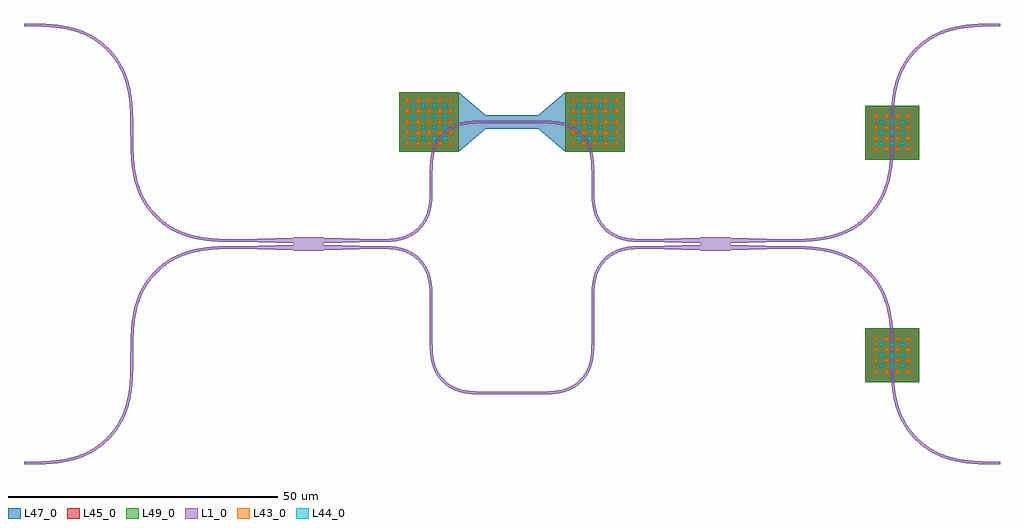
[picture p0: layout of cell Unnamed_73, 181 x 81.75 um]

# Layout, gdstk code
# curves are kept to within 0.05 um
from math import pi, radians
import gdstk
lib = gdstk.Library(unit=1e-6, precision=1e-09)
def R(c, l, rs):  # rectangles x0, y0, x1, y1
    for r in rs: c.add(gdstk.rectangle(r[:2], r[2:], *l))
def A(c, l, x, y, w, h, nx, ny, dx, dy):  # array of equal rectangles
    R(c, l, [(x+i*dx, y+j*dy, x+i*dx+w, y+j*dy+h) for i in range(nx) for j in range(ny)])
def P(c, l, *ps):  # polygons
    for p in ps: c.add(gdstk.Polygon(p, *l))
L1_0 = (1, 0)
L43_0 = (43, 0)
L44_0 = (44, 0)
L45_0 = (45, 0)
L47_0 = (47, 0)
L49_0 = (49, 0)

mmi2x2_wnone_wt1_lt10_l_ = lib.new_cell('mmi2x2_WNone_WT1_LT10_L_4ab7dfce')
P(mmi2x2_wnone_wt1_lt10_l_, L1_0, [(0,-1.25),(0,-1.125),(-10,-0.875),(-10,-0.375),(0,-0.125),(0,0.125),(-10,0.375),(-10,0.875),(0,1.125),(0,1.25),(5.5,1.25),(5.5,1.125),(15.5,0.875),(15.5,0.375),(5.5,0.125),(5.5,-0.125),(15.5,-0.375),(15.5,-0.875),(5.5,-1.125),(5.5,-1.25)])

bend_euler_rnone_a90_p0_ = lib.new_cell('bend_euler_RNone_A90_P0_d7c3a5a9')
P(bend_euler_rnone_a90_p0_, L1_0, [(0,-0.25),(0,0.25),(2.881,0.353),(3.952,0.52),(4.99,0.806),(6.431,1.505),(7.575,2.425),(8.495,3.569),(9.194,5.01),(9.48,6.048),(9.647,7.119),(9.75,10),(10.25,10),(10.158,7.205),(9.797,5.254),(9.457,4.312),(9.066,3.545),(8.5,2.715),(7.928,2.072),(7.285,1.5),(6.455,0.934),(5.688,0.543),(4.746,0.203),(2.795,-0.158)])

straight_l2_n2_csstrip = lib.new_cell('straight_L2_N2_CSstrip')
R(straight_l2_n2_csstrip, L1_0, [(0,-0.25,2,0.25)])

straight_l7_n2_csstrip = lib.new_cell('straight_L7_N2_CSstrip')
R(straight_l7_n2_csstrip, L1_0, [(0,-0.25,7,0.25)])

straight_heater_metal_u_ = lib.new_cell('straight_heater_metal_u_385113d0')
R(straight_heater_metal_u_, L1_0, [(0,-0.25,10,0.25)])
A(straight_heater_metal_u_, L43_0, -14.75, -4.35, 0.7, 0.7, 5, 5, 2, 2)
A(straight_heater_metal_u_, L43_0, 16.05, -4.35, 0.7, 0.7, 5, 5, 2, 2)
A(straight_heater_metal_u_, L44_0, -13.75, -3.35, 0.7, 0.7, 4, 4, 2, 2)
A(straight_heater_metal_u_, L44_0, 17.05, -3.35, 0.7, 0.7, 4, 4, 2, 2)
R(straight_heater_metal_u_, L45_0, [(-15.9,-5.5,-4.9,5.5), (14.9,-5.5,25.9,5.5)])
P(straight_heater_metal_u_, L47_0, [(-15.9,-5.5),(-15.9,5.5),(-4.9,5.5),(0.1,1.25),(9.9,1.25),(14.9,5.5),(25.9,5.5),(25.9,-5.5),(14.9,-5.5),(9.9,-1.25),(0.1,-1.25),(-4.9,-5.5)])
R(straight_heater_metal_u_, L49_0, [(-15.9,-5.5,-4.9,5.5), (14.9,-5.5,25.9,5.5)])

straight_l10_n2_csstrip = lib.new_cell('straight_L10_N2_CSstrip')
R(straight_l10_n2_csstrip, L1_0, [(0,-0.25,10,0.25)])

mzi_dl10_ly2_lx10_bbend_ = lib.new_cell('mzi_DL10_LY2_LX10_Bbend_0a9addde')
mzi_dl10_ly2_lx10_bbend_.add(gdstk.Reference(mmi2x2_wnone_wt1_lt10_l_, (0,0)))
mzi_dl10_ly2_lx10_bbend_.add(gdstk.Reference(bend_euler_rnone_a90_p0_, (15.5,-0.625), x_reflection=True))
mzi_dl10_ly2_lx10_bbend_.add(gdstk.Reference(bend_euler_rnone_a90_p0_, (25.5,-17.625), rotation=3*pi/2))
mzi_dl10_ly2_lx10_bbend_.add(gdstk.Reference(bend_euler_rnone_a90_p0_, (15.5,0.625)))
mzi_dl10_ly2_lx10_bbend_.add(gdstk.Reference(bend_euler_rnone_a90_p0_, (35.5,22.625), rotation=pi))
mzi_dl10_ly2_lx10_bbend_.add(gdstk.Reference(bend_euler_rnone_a90_p0_, (55.5,12.625), rotation=pi/2))
mzi_dl10_ly2_lx10_bbend_.add(gdstk.Reference(bend_euler_rnone_a90_p0_, (55.5,10.625), rotation=3*pi/2))
mzi_dl10_ly2_lx10_bbend_.add(gdstk.Reference(bend_euler_rnone_a90_p0_, (45.5,-27.625)))
mzi_dl10_ly2_lx10_bbend_.add(gdstk.Reference(bend_euler_rnone_a90_p0_, (65.5,-0.625), rotation=pi))
mzi_dl10_ly2_lx10_bbend_.add(gdstk.Reference(straight_l2_n2_csstrip, (25.5,10.625), rotation=pi/2))
mzi_dl10_ly2_lx10_bbend_.add(gdstk.Reference(straight_l7_n2_csstrip, (25.5,-10.625), rotation=3*pi/2))
mzi_dl10_ly2_lx10_bbend_.add(gdstk.Reference(straight_heater_metal_u_, (35.5,22.625)))
mzi_dl10_ly2_lx10_bbend_.add(gdstk.Reference(straight_l10_n2_csstrip, (35.5,-27.625)))
mzi_dl10_ly2_lx10_bbend_.add(gdstk.Reference(mmi2x2_wnone_wt1_lt10_l_, (81,0), rotation=pi, x_reflection=True))
mzi_dl10_ly2_lx10_bbend_.add(gdstk.Reference(straight_l2_n2_csstrip, (55.5,10.625), rotation=pi/2))
mzi_dl10_ly2_lx10_bbend_.add(gdstk.Reference(straight_l7_n2_csstrip, (55.5,-17.625), rotation=pi/2))

bend_euler_r20_a90_p0p5_ = lib.new_cell('bend_euler_R20_A90_P0p5_b207852f')
P(bend_euler_r20_a90_p0p5_, L1_0, [(0,-0.25),(0,0.25),(3.237,0.286),(5.516,0.43),(7.635,0.732),(9.702,1.255),(11.313,1.88),(12.72,2.627),(14.032,3.532),(15.232,4.58),(16.386,5.864),(17.373,7.28),(18.12,8.687),(18.745,10.298),(19.268,12.365),(19.57,14.484),(19.714,16.763),(19.75,20),(20.25,20),(20.209,16.61),(20.054,14.299),(19.785,12.405),(19.342,10.539),(18.742,8.856),(17.941,7.257),(16.947,5.77),(15.68,4.32),(14.23,3.053),(12.743,2.059),(11.144,1.258),(9.461,0.658),(7.595,0.215),(5.701,-0.054),(3.39,-0.209)])

bend_euler_s_po1_po2_r2_ = lib.new_cell('bend_euler_s_Po1_Po2_R2_81534dda')
bend_euler_s_po1_po2_r2_.add(gdstk.Reference(bend_euler_r20_a90_p0p5_, (0,0)))
bend_euler_s_po1_po2_r2_.add(gdstk.Reference(bend_euler_r20_a90_p0p5_, (20,20), rotation=pi/2, x_reflection=True))

c_bend_euler_s_po1_po2_r2_ = lib.new_cell('bend_euler_s_Po1_Po2_R2_81534d$2')
c_bend_euler_s_po1_po2_r2_.add(gdstk.Reference(bend_euler_r20_a90_p0p5_, (0,0)))
c_bend_euler_s_po1_po2_r2_.add(gdstk.Reference(bend_euler_r20_a90_p0p5_, (20,20), rotation=pi/2, x_reflection=True))

via_s0p7_0p7_s2_2_gnone_ = lib.new_cell('via_S0p7_0p7_S2_2_GNone_bcb63a01')
R(via_s0p7_0p7_s2_2_gnone_, L44_0, [(-0.35,-0.35,0.35,0.35)])

c_via_s0p7_0p7_s2_2_gnone_ = lib.new_cell('via_S0p7_0p7_S2_2_GNone_c1ab00a8')
R(c_via_s0p7_0p7_s2_2_gnone_, L43_0, [(-0.35,-0.35,0.35,0.35)])

via_stack_s10_10_lheate_ = lib.new_cell('via_stack_S10_10_LHEATE_f5424049')
R(via_stack_s10_10_lheate_, L45_0, [(-5,-5,5,5)])
R(via_stack_s10_10_lheate_, L47_0, [(-5,-5,5,5)])
R(via_stack_s10_10_lheate_, L49_0, [(-5,-5,5,5)])
r = gdstk.Reference(via_s0p7_0p7_s2_2_gnone_, (-2,-2)); r.repetition = gdstk.Repetition(3, 3, v1=(2,0), v2=(0,2)); via_stack_s10_10_lheate_.add(r)
r = gdstk.Reference(c_via_s0p7_0p7_s2_2_gnone_, (-3,-3)); r.repetition = gdstk.Repetition(4, 4, v1=(2,0), v2=(0,2)); via_stack_s10_10_lheate_.add(r)

c_bend_euler_s_po1_po2_r2__ = lib.new_cell('bend_euler_s_Po1_Po2_R2_81534d$1')
c_bend_euler_s_po1_po2_r2__.add(gdstk.Reference(bend_euler_r20_a90_p0p5_, (0,0)))
c_bend_euler_s_po1_po2_r2__.add(gdstk.Reference(bend_euler_r20_a90_p0p5_, (20,20), rotation=pi/2, x_reflection=True))
c_bend_euler_s_po1_po2_r2__.add(gdstk.Reference(via_stack_s10_10_lheate_, (20,20)))

c_via_stack_s10_10_lheate_ = lib.new_cell('via_stack_S10_10_LHEATE_f54240$1')
R(c_via_stack_s10_10_lheate_, L45_0, [(-5,-5,5,5)])
R(c_via_stack_s10_10_lheate_, L47_0, [(-5,-5,5,5)])
R(c_via_stack_s10_10_lheate_, L49_0, [(-5,-5,5,5)])
r = gdstk.Reference(via_s0p7_0p7_s2_2_gnone_, (-2,-2)); r.repetition = gdstk.Repetition(3, 3, v1=(2,0), v2=(0,2)); c_via_stack_s10_10_lheate_.add(r)
r = gdstk.Reference(c_via_s0p7_0p7_s2_2_gnone_, (-3,-3)); r.repetition = gdstk.Repetition(4, 4, v1=(2,0), v2=(0,2)); c_via_stack_s10_10_lheate_.add(r)

c_bend_euler_s_po1_po2_r2___ = lib.new_cell('bend_euler_s_Po1_Po2_R2_81534d$3')
c_bend_euler_s_po1_po2_r2___.add(gdstk.Reference(bend_euler_r20_a90_p0p5_, (0,0)))
c_bend_euler_s_po1_po2_r2___.add(gdstk.Reference(bend_euler_r20_a90_p0p5_, (20,20), rotation=pi/2, x_reflection=True))
c_bend_euler_s_po1_po2_r2___.add(gdstk.Reference(c_via_stack_s10_10_lheate_, (20,20)))

unnamed_73 = lib.new_cell('Unnamed_73')
unnamed_73.add(gdstk.Reference(mzi_dl10_ly2_lx10_bbend_, (0,0)))
unnamed_73.add(gdstk.Reference(bend_euler_s_po1_po2_r2_, (-50,-40.625)))
unnamed_73.add(gdstk.Reference(c_bend_euler_s_po1_po2_r2_, (-50,40.625), x_reflection=True))
unnamed_73.add(gdstk.Reference(c_bend_euler_s_po1_po2_r2__, (91,0.625)))
unnamed_73.add(gdstk.Reference(c_bend_euler_s_po1_po2_r2___, (91,-0.625), x_reflection=True))

lib.write_gds('Unnamed_73.gds')
